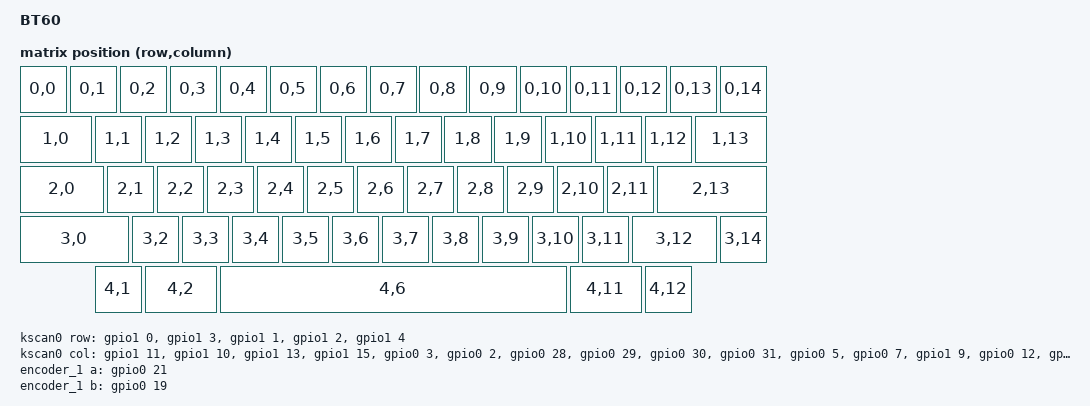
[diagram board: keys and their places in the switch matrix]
/*
 * Copyright (c) 2021 Polarity Works
 *
 * SPDX-License-Identifier: MIT
 */

/dts-v1/;
#include <nordic/nrf52840_qiaa.dtsi>
#include <physical_layouts.dtsi>

#include <dt-bindings/led/led.h>
#include <dt-bindings/zmk/matrix_transform.h>
#include "bt60-pinctrl.dtsi"

/ {
  model = "BT60";
  compatible = "polarityworks,bt60v2";

  chosen {
    zephyr,code-partition = &code_partition;
    zephyr,sram = &sram0;
    zephyr,flash = &flash0;
    zmk,kscan = &kscan0;
    zmk,underglow = &led_strip;
    zmk,backlight = &backlight;
    zmk,battery = &vbatt;
    // zmk,matrix_transform = &hhkb_transform;
  };

  sensors {
    compatible = "zmk,keymap-sensors";
    sensors = <&encoder_1>;
    triggers-per-rotation = <20>;
  };

  hhkb_transform: keymap_transform_0 {
    compatible = "zmk,matrix-transform";
    columns = <15>;
    rows = <4>;
    map =
      <
       RC(0,0) RC(0,1) RC(0,2) RC(0,3) RC(0,4) RC(0,5) RC(0,6) RC(0,7) RC(0,8) RC(0,9) RC(0,10) RC(0,11) RC(0,12) RC(0,13) RC(0,14)
       RC(1,0) RC(1,1) RC(1,2) RC(1,3) RC(1,4) RC(1,5) RC(1,6) RC(1,7) RC(1,8) RC(1,9) RC(1,10) RC(1,11) RC(1,12) RC(1,13)
       RC(2,0) RC(2,1) RC(2,2) RC(2,3) RC(2,4) RC(2,5) RC(2,6) RC(2,7) RC(2,8) RC(2,9) RC(2,10) RC(2,11)          RC(2,13)
       RC(3,0)         RC(3,2) RC(3,3) RC(3,4) RC(3,5) RC(3,6) RC(3,7) RC(3,8) RC(3,9) RC(3,10) RC(3,11) RC(3,12)          RC(3,14)
       /**/    RC(4,1) RC(4,2)                         RC(4,6)                                  RC(4,11) RC(4,12)
      >;
  };

  kscan0: kscan {
    compatible = "zmk,kscan-gpio-matrix";
    wakeup-source;

    diode-direction = "col2row";
    col-gpios
      = <&gpio1 11 GPIO_ACTIVE_HIGH>
      , <&gpio1 10 GPIO_ACTIVE_HIGH>
      , <&gpio1 13 GPIO_ACTIVE_HIGH>
      , <&gpio1 15 GPIO_ACTIVE_HIGH>
      , <&gpio0 3 GPIO_ACTIVE_HIGH>
      , <&gpio0 2 GPIO_ACTIVE_HIGH>
      , <&gpio0 28 GPIO_ACTIVE_HIGH>
      , <&gpio0 29 GPIO_ACTIVE_HIGH>
      , <&gpio0 30 GPIO_ACTIVE_HIGH>
      , <&gpio0 31 GPIO_ACTIVE_HIGH>
      , <&gpio0 5 GPIO_ACTIVE_HIGH>
      , <&gpio0 7 GPIO_ACTIVE_HIGH>
      , <&gpio1 9 GPIO_ACTIVE_HIGH>
      , <&gpio0 12 GPIO_ACTIVE_HIGH>
      , <&gpio0 23 GPIO_ACTIVE_HIGH>
      ;

    row-gpios
      = <&gpio1 0 (GPIO_ACTIVE_HIGH | GPIO_PULL_DOWN)>
      , <&gpio1 3 (GPIO_ACTIVE_HIGH | GPIO_PULL_DOWN)>
      , <&gpio1 1 (GPIO_ACTIVE_HIGH | GPIO_PULL_DOWN)>
      , <&gpio1 2 (GPIO_ACTIVE_HIGH | GPIO_PULL_DOWN)>
      , <&gpio1 4 (GPIO_ACTIVE_HIGH | GPIO_PULL_DOWN)>
      ;
  };

  hhkb_layout: layout0 {
    compatible = "zmk,physical-layout";
    display-name = "HHKB";
    kscan = <&kscan0>;
    transform = <&hhkb_transform>;
    keys  //                   w   h    x    y     rot    rx    ry
      // ROW 0
      = <&key_physical_attrs 100 100    0    0       0     0     0>
      , <&key_physical_attrs 100 100  100    0       0     0     0>
      , <&key_physical_attrs 100 100  200    0       0     0     0>
      , <&key_physical_attrs 100 100  300    0       0     0     0>
      , <&key_physical_attrs 100 100  400    0       0     0     0>
      , <&key_physical_attrs 100 100  500    0       0     0     0>
      , <&key_physical_attrs 100 100  600    0       0     0     0>
      , <&key_physical_attrs 100 100  700    0       0     0     0>
      , <&key_physical_attrs 100 100  800    0       0     0     0>
      , <&key_physical_attrs 100 100  900    0       0     0     0>
      , <&key_physical_attrs 100 100 1000    0       0     0     0>
      , <&key_physical_attrs 100 100 1100    0       0     0     0>
      , <&key_physical_attrs 100 100 1200    0       0     0     0>
      , <&key_physical_attrs 100 100 1300    0       0     0     0>
      , <&key_physical_attrs 100 100 1400    0       0     0     0> /* EC11 */
      // ROW 1
      , <&key_physical_attrs 150 100    0  100       0     0     0>
      , <&key_physical_attrs 100 100  150  100       0     0     0>
      , <&key_physical_attrs 100 100  250  100       0     0     0>
      , <&key_physical_attrs 100 100  350  100       0     0     0>
      , <&key_physical_attrs 100 100  450  100       0     0     0>
      , <&key_physical_attrs 100 100  550  100       0     0     0>
      , <&key_physical_attrs 100 100  650  100       0     0     0>
      , <&key_physical_attrs 100 100  750  100       0     0     0>
      , <&key_physical_attrs 100 100  850  100       0     0     0>
      , <&key_physical_attrs 100 100  950  100       0     0     0>
      , <&key_physical_attrs 100 100 1050  100       0     0     0>
      , <&key_physical_attrs 100 100 1150  100       0     0     0>
      , <&key_physical_attrs 100 100 1250  100       0     0     0>
      , <&key_physical_attrs 150 100 1350  100       0     0     0>
      // ROW 2
      , <&key_physical_attrs 175 100    0  200       0     0     0>
      , <&key_physical_attrs 100 100  175  200       0     0     0>
      , <&key_physical_attrs 100 100  275  200       0     0     0>
      , <&key_physical_attrs 100 100  375  200       0     0     0>
      , <&key_physical_attrs 100 100  475  200       0     0     0>
      , <&key_physical_attrs 100 100  575  200       0     0     0>
      , <&key_physical_attrs 100 100  675  200       0     0     0>
      , <&key_physical_attrs 100 100  775  200       0     0     0>
      , <&key_physical_attrs 100 100  875  200       0     0     0>
      , <&key_physical_attrs 100 100  975  200       0     0     0>
      , <&key_physical_attrs 100 100 1075  200       0     0     0>
      , <&key_physical_attrs 100 100 1175  200       0     0     0>
      , <&key_physical_attrs 225 100 1275  200       0     0     0>
      // ROW 3
      , <&key_physical_attrs 225 100    0  300       0     0     0>
      , <&key_physical_attrs 100 100  225  300       0     0     0>
      , <&key_physical_attrs 100 100  325  300       0     0     0>
      , <&key_physical_attrs 100 100  425  300       0     0     0>
      , <&key_physical_attrs 100 100  525  300       0     0     0>
      , <&key_physical_attrs 100 100  625  300       0     0     0>
      , <&key_physical_attrs 100 100  725  300       0     0     0>
      , <&key_physical_attrs 100 100  825  300       0     0     0>
      , <&key_physical_attrs 100 100  925  300       0     0     0>
      , <&key_physical_attrs 100 100 1025  300       0     0     0>
      , <&key_physical_attrs 100 100 1125  300       0     0     0>
      , <&key_physical_attrs 175 100 1225  300       0     0     0>
      , <&key_physical_attrs 100 100 1400  300       0     0     0>
      // ROW 4
      , <&key_physical_attrs 100 100  150  400       0     0     0>
      , <&key_physical_attrs 150 100  250  400       0     0     0>
      , <&key_physical_attrs 700 100  400  400       0     0     0>
      , <&key_physical_attrs 150 100 1100  400       0     0     0>
      , <&key_physical_attrs 100 100 1250  400       0     0     0>
      ;
  };

  soft_off_wakers {
    compatible = "zmk,soft-off-wakeup-sources";
    wakeup-sources = <&kscan0>;
  };

  // Node name must match original "EXT_POWER" label to preserve user settings.
  EXT_POWER {
    compatible = "zmk,ext-power-generic";
    control-gpios = <&gpio0 13 GPIO_ACTIVE_HIGH>;
  };

  encoder_1: encoder_1 {
    compatible = "alps,ec11";
    a-gpios = <&gpio0 21 (GPIO_ACTIVE_HIGH | GPIO_PULL_UP)>;
    b-gpios = <&gpio0 19 (GPIO_ACTIVE_HIGH | GPIO_PULL_UP)>;
    steps = <80>;
    status = "disabled";
  };

  backlight: pwmleds {
    compatible = "pwm-leds";
    pwm_led_0 {
      pwms = <&pwm0 0 10000 PWM_POLARITY_NORMAL>;
    };
  };

  leds {
    compatible = "gpio-leds";
    blue_led: led_0 {
      gpios = <&gpio0 15 GPIO_ACTIVE_HIGH>;
    };
  };

  buttons {
    compatible = "gpio-keys";
    unused_pins {
      gpios
        = <&gpio1 6 (GPIO_ACTIVE_HIGH | GPIO_PULL_DOWN)> /* unused col */
        , <&gpio0 22 (GPIO_ACTIVE_HIGH | GPIO_PULL_DOWN)> /* unused row */
        , <&gpio0 26 (GPIO_ACTIVE_HIGH | GPIO_PULL_DOWN)> /* encode_2 a */
        , <&gpio0 6 (GPIO_ACTIVE_HIGH | GPIO_PULL_DOWN)> /* encode_2 b */
        , <&gpio0 9 (GPIO_ACTIVE_HIGH | GPIO_PULL_DOWN)> /* encode_3 a */
        , <&gpio0 10 (GPIO_ACTIVE_HIGH | GPIO_PULL_DOWN)> /* encode_3 b */
        ;
    };
  };

  vbatt: vbatt {
    compatible = "zmk,battery-voltage-divider";
    io-channels = <&adc 2>;
    output-ohms = <100000>;
    full-ohms = <(100000 + 100000)>;
  };
};

&adc {
  status = "okay";
};

&pwm0 {
  status = "okay";
  pinctrl-0 = <&pwm0_default>;
  pinctrl-1 = <&pwm0_sleep>;
  pinctrl-names = "default","sleep";
};

&gpiote {
  status = "okay";
};

&gpio0 {
  status = "okay";
};

&gpio1 {
  status = "okay";
};

zephyr_udc0: &usbd {
  status = "okay";
};


&flash0 {
  /*
   * For more information, see:
   * http://docs.zephyrproject.org/latest/devices/dts/flash_partitions.html
   */
  partitions {
    compatible = "fixed-partitions";
    #address-cells = <1>;
    #size-cells = <1>;

    sd_partition: partition@0 {
      reg = <0x00000000 0x00026000>;
    };
    code_partition: partition@26000 {
      reg = <0x00026000 0x000c6000>;
    };

    /*
     * The flash starting at 0x000ec000 and ending at
     * 0x000f3fff is reserved for use by the application.
     */

    /*
     * Storage partition will be used by FCB/LittleFS/NVS
     * if enabled.
     */
    storage_partition: partition@ec000 {
      reg = <0x000ec000 0x00008000>;
    };

    boot_partition: partition@f4000 {
      reg = <0x000f4000 0x0000c000>;
    };
  };
};

&spi3 {
  compatible = "nordic,nrf-spim";
  pinctrl-0 = <&spi3_default>;
  pinctrl-1 = <&spi3_sleep>;
  pinctrl-names = "default","sleep";
  status = "okay";

  led_strip: ws2812@0 {
    compatible = "worldsemi,ws2812-spi";

    /* SPI */
    reg = <0>; /* ignored, but necessary for SPI bindings */
    spi-max-frequency = <4000000>;

    /* WS2812 */
    chain-length = <12>; /* LED strip length */
    spi-one-frame = <0x70>;
    spi-zero-frame = <0x40>;
    color-mapping = <LED_COLOR_ID_GREEN LED_COLOR_ID_RED LED_COLOR_ID_BLUE>;
  };
};
